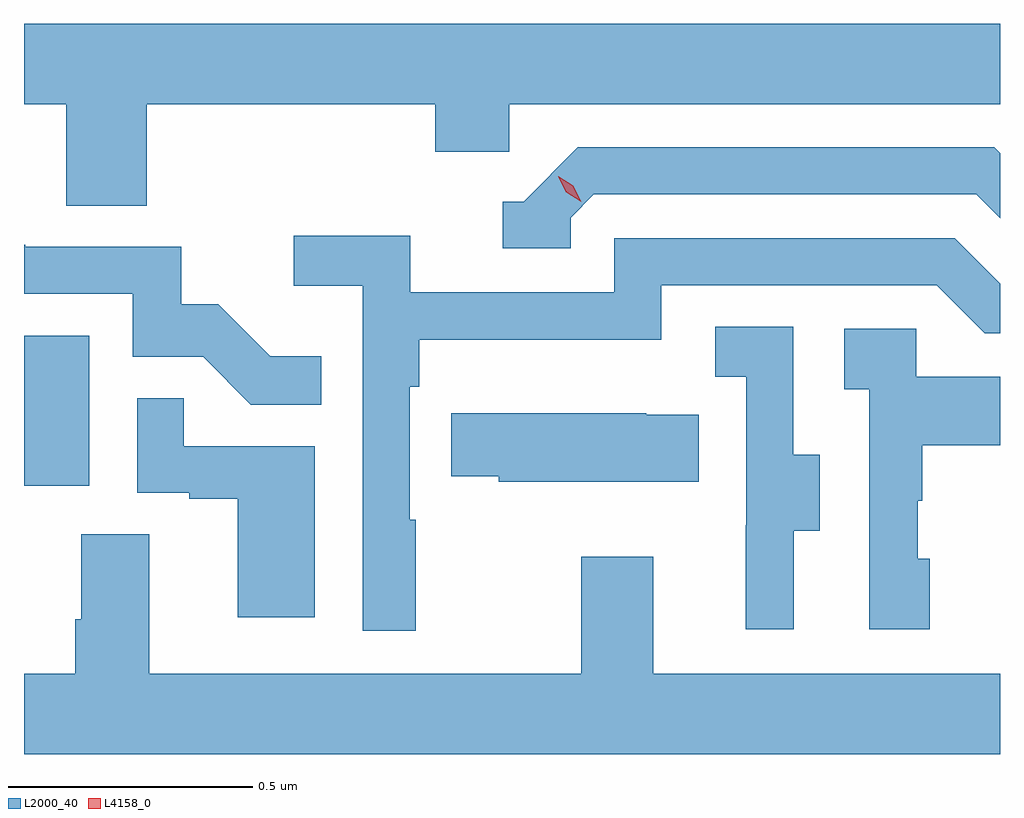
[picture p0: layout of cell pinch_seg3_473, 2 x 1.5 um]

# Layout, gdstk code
import gdstk
lib = gdstk.Library(unit=1e-6, precision=1e-09)
def R(c, l, rs):  # rectangles x0, y0, x1, y1
    for r in rs: c.add(gdstk.rectangle(r[:2], r[2:], *l))
def P(c, l, *ps):  # polygons
    for p in ps: c.add(gdstk.Polygon(p, *l))
L2000_40 = (2000, 40)
L4158_0 = (4158, 0)

pinch_seg3_473 = lib.new_cell('pinch_seg3_473')
R(pinch_seg3_473, L2000_40, [(947.678,673.494,947.812,673.801)])
P(pinch_seg3_473, L2000_40, [(947.93,674.276),(948.521,674.276),(948.521,674.178),(948.672,674.178),(948.672,674.276),(949.678,674.276),(949.678,674.44),(947.678,674.44),(947.678,674.276),(947.765,674.276),(947.765,674.068),(947.93,674.068)],
  [(948.798,674.043),(948.846,674.091),(949.629,674.091),(949.678,674.042),(949.678,674.175),(949.666,674.187),(948.813,674.187),(948.702,674.076),(948.659,674.076),(948.659,673.98),(948.798,673.98)],
  [(948.481,673.424),(948.468,673.424),(948.468,673.697),(948.488,673.697),(948.488,673.793),(948.984,673.793),(948.984,673.905),(949.548,673.905),(949.647,673.806),(949.678,673.806),(949.678,673.908),(949.585,674.001),(948.888,674.001),(948.888,673.89),(948.47,673.89),(948.47,674.006),(948.231,674.006),(948.231,673.904),(948.372,673.904),(948.372,673.197),(948.481,673.197)],
  [(948.287,673.759),(948.183,673.759),(948.076,673.866),(948,673.866),(948,673.983),(947.681,673.983),(947.681,673.988),(947.678,673.988),(947.678,673.887),(947.901,673.887),(947.901,673.758),(948.045,673.758),(948.143,673.66),(948.287,673.66)],
  [(949.255,673.402),(949.309,673.402),(949.309,673.557),(949.254,673.557),(949.254,673.82),(949.095,673.82),(949.095,673.717),(949.158,673.717),(949.158,673.413),(949.157,673.413),(949.157,673.2),(949.255,673.2)],
  [(949.534,673.344),(949.509,673.344),(949.509,673.463),(949.519,673.463),(949.519,673.577),(949.678,673.577),(949.678,673.717),(949.506,673.717),(949.506,673.815),(949.359,673.815),(949.359,673.691),(949.41,673.691),(949.41,673.2),(949.534,673.2)],
  [(948.274,673.575),(948.005,673.575),(948.005,673.673),(947.91,673.673),(947.91,673.479),(948.017,673.479),(948.017,673.467),(948.116,673.467),(948.116,673.224),(948.274,673.224)],
  [(949.061,673.639),(948.953,673.639),(948.953,673.642),(948.553,673.642),(948.553,673.513),(948.651,673.513),(948.651,673.502),(949.061,673.502)],
  [(949.678,673.108),(948.967,673.108),(948.967,673.348),(948.82,673.348),(948.82,673.108),(947.935,673.108),(947.935,673.394),(947.795,673.394),(947.795,673.22),(947.783,673.22),(947.783,673.108),(947.678,673.108),(947.678,672.944),(949.678,672.944)])
P(pinch_seg3_473, L4158_0, [(948.82,674.076),(948.789,674.095),(948.773,674.127),(948.773,674.128),(948.773,674.128),(948.804,674.108),(948.82,674.076),(948.82,674.076)])

lib.write_gds('pinch_seg3_473.gds')
